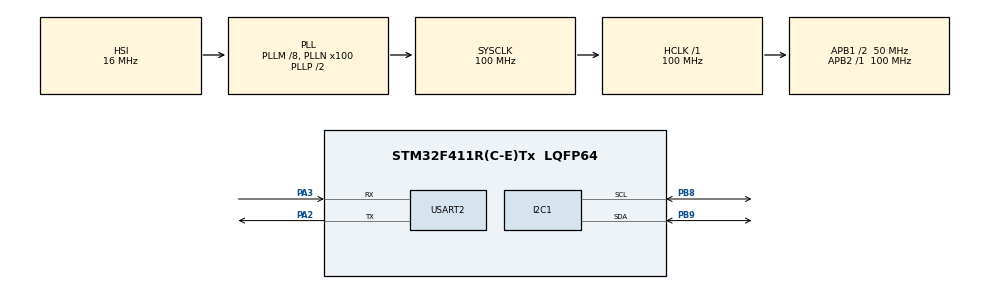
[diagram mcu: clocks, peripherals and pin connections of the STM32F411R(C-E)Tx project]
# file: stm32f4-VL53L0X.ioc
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Mcu.Family=STM32F4
PA2.GPIO_PuPd=GPIO_PULLDOWN
RCC.CortexFreq_Value=100000000
PA3.GPIO_PuPd=GPIO_PULLDOWN
RCC.APB1CLKDivider=RCC_HCLK_DIV2
RCC.SYSCLKSource=RCC_SYSCLKSOURCE_PLLCLK
ProjectManager.StackSize=0x400
PA3.Mode=Asynchronous
ProjectManager.TargetToolchain=STM32CubeIDE
RCC.HCLKFreq_Value=100000000
PB9.Mode=I2C
RCC.APB2TimFreq_Value=100000000
RCC.LSE_VALUE=32768
RCC.AHBFreq_Value=100000000
RCC.HSE_VALUE=8000000
board=NUCLEO-F411RE
RCC.VCOOutputFreq_Value=200000000
RCC.APB2Freq_Value=100000000
Mcu.Name=STM32F411R(C-E)Tx
PA2.Signal=USART2_TX
RCC.FLatency-AdvancedSettings=FLASH_LATENCY_3
RCC.48MHZClocksFreq_Value=50000000
RCC.SYSCLKFreq_VALUE=100000000
PB9.Signal=I2C1_SDA
Mcu.Package=LQFP64
USART2.VirtualMode=VM_ASYNC
ProjectManager.HeapSize=0x200
RCC.HSI_VALUE=16000000
NVIC.PriorityGroup=NVIC_PRIORITYGROUP_0
RCC.PLLM=8
PB8.Mode=I2C
RCC.PLLN=100
RCC.APB1TimFreq_Value=100000000
PB8.Signal=I2C1_SCL
PA2.Mode=Asynchronous
RCC.APB1Freq_Value=50000000
PA3.Signal=USART2_RX

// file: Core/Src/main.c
/* USER CODE BEGIN Header */
/**
 ******************************************************************************
 * @file           : main.c
 * @brief          : Main program body
 ******************************************************************************
 * @attention
 *
 * <h2><center>&copy; Copyright (c) 2021 STMicroelectronics.
 * All rights reserved.</center></h2>
 *
 * This software component is licensed by ST under BSD 3-Clause license,
 * the "License"; You may not use this file except in compliance with the
 * License. You may obtain a copy of the License at:
 *                        opensource.org/licenses/BSD-3-Clause
 *
 ******************************************************************************
 */
/* USER CODE END Header */
#include "main.h"

/* USER CODE BEGIN Includes */
#include "VL53L0X.h"
#include "stdio.h"
/* USER CODE END Includes */

I2C_HandleTypeDef hi2c1;

UART_HandleTypeDef huart2;

void SystemClock_Config(void);
static void MX_GPIO_Init(void);
static void MX_USART2_UART_Init(void);
static void MX_I2C1_Init(void);

int main(void)
{

  /* MCU Configuration--------------------------------------------------------*/

  /* Reset of all peripherals, Initializes the Flash interface and the Systick. */
  HAL_Init();

  /* Configure the system clock */
  SystemClock_Config();

  /* Initialize all configured peripherals */
  MX_GPIO_Init();
  MX_USART2_UART_Init();
  MX_I2C1_Init();
  /* USER CODE BEGIN 2 */

	// Initialise a message buffer.
	char msgBuffer[52];
	for (uint8_t i = 0; i < 52; i++) {
		msgBuffer[i] = ' ';
	}

	// Initialise the VL53L0X
	statInfo_t_VL53L0X distanceStr;
	initVL53L0X(1, &hi2c1);

	// Configure the sensor for high accuracy and speed in 20 cm.
	setSignalRateLimit(200);
	setVcselPulsePeriod(VcselPeriodPreRange, 10);
	setVcselPulsePeriod(VcselPeriodFinalRange, 14);
	setMeasurementTimingBudget(300 * 1000UL);

	uint16_t distance;

  /* USER CODE END 2 */

  /* Infinite loop */
  /* USER CODE BEGIN WHILE */
	while (1) {

		// uint16_t distance is the distance in millimeters.
		// statInfo_t_VL53L0X distanceStr is the statistics read from the sensor.
		distance = readRangeSingleMillimeters(&distanceStr);

		sprintf(msgBuffer, "Distance: %d\r\n", distance);

		HAL_UART_Transmit(&huart2, (uint8_t*) msgBuffer, sizeof(msgBuffer), 50);

    /* USER CODE END WHILE */

	}
}

void SystemClock_Config(void)
{
  RCC_OscInitTypeDef RCC_OscInitStruct = {0};
  RCC_ClkInitTypeDef RCC_ClkInitStruct = {0};

  /** Configure the main internal regulator output voltage
  */
  __HAL_RCC_PWR_CLK_ENABLE();
  __HAL_PWR_VOLTAGESCALING_CONFIG(PWR_REGULATOR_VOLTAGE_SCALE1);
  /** Initializes the RCC Oscillators according to the specified parameters
  * in the RCC_OscInitTypeDef structure.
  */
  RCC_OscInitStruct.OscillatorType = RCC_OSCILLATORTYPE_HSI;
  RCC_OscInitStruct.HSIState = RCC_HSI_ON;
  RCC_OscInitStruct.HSICalibrationValue = RCC_HSICALIBRATION_DEFAULT;
  RCC_OscInitStruct.PLL.PLLState = RCC_PLL_ON;
  RCC_OscInitStruct.PLL.PLLSource = RCC_PLLSOURCE_HSI;
  RCC_OscInitStruct.PLL.PLLM = 8;
  RCC_OscInitStruct.PLL.PLLN = 100;
  RCC_OscInitStruct.PLL.PLLP = RCC_PLLP_DIV2;
  RCC_OscInitStruct.PLL.PLLQ = 4;
  if (HAL_RCC_OscConfig(&RCC_OscInitStruct) != HAL_OK)
  {
    Error_Handler();
  }
  /** Initializes the CPU, AHB and APB buses clocks
  */
  RCC_ClkInitStruct.ClockType = RCC_CLOCKTYPE_HCLK|RCC_CLOCKTYPE_SYSCLK
                              |RCC_CLOCKTYPE_PCLK1|RCC_CLOCKTYPE_PCLK2;
  RCC_ClkInitStruct.SYSCLKSource = RCC_SYSCLKSOURCE_PLLCLK;
  RCC_ClkInitStruct.AHBCLKDivider = RCC_SYSCLK_DIV1;
  RCC_ClkInitStruct.APB1CLKDivider = RCC_HCLK_DIV2;
  RCC_ClkInitStruct.APB2CLKDivider = RCC_HCLK_DIV1;

  if (HAL_RCC_ClockConfig(&RCC_ClkInitStruct, FLASH_LATENCY_3) != HAL_OK)
  {
    Error_Handler();
  }
}

static void MX_I2C1_Init(void)
{

  hi2c1.Instance = I2C1;
  hi2c1.Init.ClockSpeed = 100000;
  hi2c1.Init.DutyCycle = I2C_DUTYCYCLE_2;
  hi2c1.Init.OwnAddress1 = 0;
  hi2c1.Init.AddressingMode = I2C_ADDRESSINGMODE_7BIT;
  hi2c1.Init.DualAddressMode = I2C_DUALADDRESS_DISABLE;
  hi2c1.Init.OwnAddress2 = 0;
  hi2c1.Init.GeneralCallMode = I2C_GENERALCALL_DISABLE;
  hi2c1.Init.NoStretchMode = I2C_NOSTRETCH_DISABLE;
  if (HAL_I2C_Init(&hi2c1) != HAL_OK)
  {
    Error_Handler();
  }

}

static void MX_USART2_UART_Init(void)
{

  huart2.Instance = USART2;
  huart2.Init.BaudRate = 115200;
  huart2.Init.WordLength = UART_WORDLENGTH_8B;
  huart2.Init.StopBits = UART_STOPBITS_1;
  huart2.Init.Parity = UART_PARITY_NONE;
  huart2.Init.Mode = UART_MODE_TX_RX;
  huart2.Init.HwFlowCtl = UART_HWCONTROL_NONE;
  huart2.Init.OverSampling = UART_OVERSAMPLING_16;
  if (HAL_UART_Init(&huart2) != HAL_OK)
  {
    Error_Handler();
  }

}

static void MX_GPIO_Init(void)
{

  /* GPIO Ports Clock Enable */
  __HAL_RCC_GPIOA_CLK_ENABLE();
  __HAL_RCC_GPIOB_CLK_ENABLE();

}

void Error_Handler(void)
{
	__disable_irq();
	while (1) {
	}
}

/************************ (C) COPYRIGHT STMicroelectronics *****END OF FILE****/
